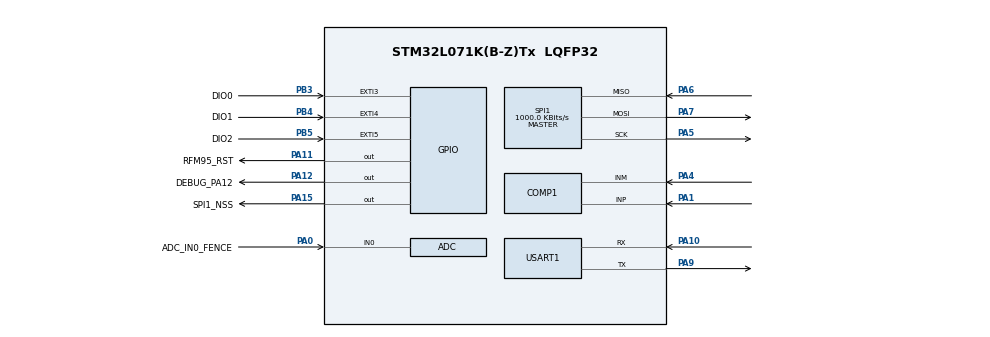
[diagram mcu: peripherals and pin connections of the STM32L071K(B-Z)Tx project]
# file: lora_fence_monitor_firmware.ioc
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ADC.ContinuousConvMode=ENABLE
ADC.DMAContinuousRequests=ENABLE
COMP1.TriggerMode=COMP_TRIGGERMODE_IT_RISING
Dma.ADC.0.Direction=DMA_PERIPH_TO_MEMORY
Dma.ADC.0.Instance=DMA1_Channel1
Dma.ADC.0.MemDataAlignment=DMA_MDATAALIGN_HALFWORD
Dma.ADC.0.MemInc=DMA_MINC_ENABLE
Dma.ADC.0.Mode=DMA_NORMAL
Dma.ADC.0.PeriphDataAlignment=DMA_PDATAALIGN_HALFWORD
Dma.ADC.0.PeriphInc=DMA_PINC_DISABLE
Dma.ADC.0.Priority=DMA_PRIORITY_LOW
Dma.Request0=ADC
LPTIM1.ClockPrescaler=LPTIM_PRESCALER_DIV16
Mcu.Family=STM32L0
Mcu.Name=STM32L071K(B-Z)Tx
Mcu.Package=LQFP32
NVIC.ADC1_COMP_IRQn=true\:0\:0\:false\:false\:true\:true\:true
NVIC.DMA1_Channel1_IRQn=true\:0\:0\:false\:false\:true\:false\:true
NVIC.EXTI2_3_IRQn=true\:0\:0\:false\:false\:true\:true\:true
NVIC.EXTI4_15_IRQn=true\:0\:0\:false\:false\:true\:true\:true
NVIC.LPTIM1_IRQn=true\:0\:0\:false\:false\:true\:true\:true
NVIC.RTC_IRQn=true\:0\:0\:false\:false\:true\:true\:true
NVIC.SPI1_IRQn=true\:0\:0\:false\:false\:true\:true\:true
NVIC.USART1_IRQn=true\:0\:0\:false\:false\:true\:true\:true
PA0.GPIO_Label=ADC_IN0_FENCE
PA0.Mode=IN0
PA0.Signal=ADC_IN0
PA1.Mode=INP
PA1.Signal=COMP1_INP
PA10.Mode=Asynchronous
PA10.Signal=USART1_RX
PA11.GPIO_Label=RFM95_RST
PA11.GPIO_ModeDefaultOutputPP=GPIO_MODE_OUTPUT_PP
PA11.Signal=GPIO_Output
PA12.GPIO_Label=DEBUG_PA12
PA12.GPIO_Speed=GPIO_SPEED_FREQ_HIGH
PA12.Signal=GPIO_Output
PA13.Mode=Serial_Wire
PA13.Signal=SYS_SWDIO
PA14.Mode=Serial_Wire
PA14.Signal=SYS_SWCLK
PA15.GPIO_Label=SPI1_NSS
PA15.Signal=GPIO_Output
PA4.Mode=INM
PA4.Signal=COMP1_INM
PA5.Mode=Full_Duplex_Master
PA5.Signal=SPI1_SCK
PA6.Mode=Full_Duplex_Master
PA6.Signal=SPI1_MISO
PA7.Mode=Full_Duplex_Master
PA7.Signal=SPI1_MOSI
PA9.Mode=Asynchronous
PA9.Signal=USART1_TX
PB3.GPIO_Label=DIO0
PB3.Signal=GPXTI3
PB4.GPIO_Label=DIO1
PB4.Signal=GPXTI4
PB5.GPIO_Label=DIO2
PB5.Signal=GPXTI5
ProjectManager.HeapSize=0x200
ProjectManager.StackSize=0x400
ProjectManager.TargetToolchain=Makefile
RCC.AHBFreq_Value=16000000
RCC.APB1Freq_Value=16000000
RCC.APB1TimFreq_Value=16000000
RCC.APB2Freq_Value=16000000
RCC.APB2TimFreq_Value=16000000
RCC.HCLKFreq_Value=16000000
RCC.HSI16_VALUE=16000000
RCC.HSI_VALUE=16000000
RCC.LSE_VALUE=32768
RCC.LptimClockSelection=RCC_LPTIM1CLKSOURCE_HSI
RCC.MSI_VALUE=2097000
RCC.PWR_Regulator_Voltage_Scale=PWR_REGULATOR_VOLTAGE_SCALE2
RCC.SYSCLKFreq_VALUE=16000000
RCC.SYSCLKSource=RCC_SYSCLKSOURCE_HSI
RCC.VCOOutputFreq_Value=48000000
RCC.VDD_VALUE=3
SPI1.BaudRatePrescaler=SPI_BAUDRATEPRESCALER_16
SPI1.CalculateBaudRate=1000.0 KBits/s
SPI1.Direction=SPI_DIRECTION_2LINES
SPI1.Mode=SPI_MODE_MASTER
SPI1.VirtualType=VM_MASTER
SYS.PVDLevel=PWR_PVDLEVEL_2
USART1.VirtualMode-Asynchronous=VM_ASYNC
VP_LPTIM1_VS_LPTIM_counterModeInternalClock.Mode=Counts__internal_clock_event_00
VP_RTC_VS_RTC_Activate.Mode=RTC_Enabled
VP_RTC_VS_RTC_WakeUp_intern.Mode=WakeUp
VP_SYS_V_PVD_IN.Mode=Mode_PVD_Int
board=custom

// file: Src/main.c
/* USER CODE BEGIN Header */
/**
  ******************************************************************************
  * @file           : main.c
  * @brief          : Main program body
  ******************************************************************************
  * @attention
  *
  * <h2><center>&copy; Copyright (c) 2020 STMicroelectronics.
  * All rights reserved.</center></h2>
  *
  * This software component is licensed by ST under BSD 3-Clause license,
  * the "License"; You may not use this file except in compliance with the
  * License. You may obtain a copy of the License at:
  *                        opensource.org/licenses/BSD-3-Clause
  *
  ******************************************************************************
  */
/* USER CODE END Header */

#include "main.h"
#include "adc.h"
#include "comp.h"
#include "dma.h"
#include "lptim.h"
#include "rtc.h"
#include "spi.h"
#include "usart.h"
#include "gpio.h"

/* USER CODE BEGIN Includes */
#include "arduino_lmic.h"
#include "hal/hal.h"
#include "fence.h"
#include "eeprom.h"

#include "string.h"
#include "stdio.h"
/* USER CODE END Includes */

/* USER CODE BEGIN PD */

// +++++++++++++++++++++++++++++++++++++++++++++++++++++++++++++++++++++++++++++
/*  TODO
 *  Calibration routine for voltage and RTC
 *  Timeouts and error handlers
 *  Error handler/retry if voltage low and long (>300us) -> spurious signal form other nearby fence?
 *  EEPROM checksums
 */
/* important!! changes after code generation in cubemx
 * gpio.c:53 comment out
 *  // if called resets radio -> standby mode -> 1.6mA -> not good
 *  // LL_GPIO_ResetOutputPin(RFM95_RST_GPIO_Port, RFM95_RST_Pin);
 *
 * main.c comment out
 *  // LL_RCC_ForceBackupDomainReset();
 *  // LL_RCC_ReleaseBackupDomainReset();
 *
 */
// +++++++++++++++++++++++++++++++++++++++++++++++++++++++++++++++++++++++++++++

/*  Lora message structure, 1 byte long
 *  Byte 0:
 *      bit 7:      Timeout
 *      bit 6-0:    Fencevoltage / 0.1kV  (e.g. 11.4kV = 114 in message, max 12.7kV)
 */
#define LORA_MESSAGE_NUM_BYTES      1

#define LORA_MESSAGE_BATTERYLOW_BYTE   (0)
#define LORA_MESSAGE_BATTERYLOW_MASK   (1<<7)
#define LORA_MESSAGE_VOLTAGE_BYTE   (0)
#define LORA_MESSAGE_VOLTAGE_MASK   (0x7F)

#define PRINTBUF_SIZE   (40)

/* USER CODE END PD */

/* USER CODE BEGIN PV */
static volatile uint32_t tick = 0;
/* USER CODE END PV */

void SystemClock_Config(void);
/* USER CODE BEGIN PFP */
void EnterStandbyMode(void);
void EnterSTOPMode(void);
/* USER CODE END PFP */

/* USER CODE BEGIN 0 */

// This EUI must be in little-endian format, so least-significant-byte
// first. When copying an EUI from ttnctl output, this means to reverse
// the bytes. For TTN issued EUIs the last bytes should be 0xD5, 0xB3,
// 0x70.
static const u1_t APPEUI[8]={ 0x1D, 0x98, 0xXX, 0xXX, 0xXX, 0xXX, 0xXX, 0xXX };
void os_getArtEui (u1_t* buf) { memcpy(buf, APPEUI, 8);}

// This should also be in little endian format, see above.
static const u1_t DEVEUI[8]={ 0xE6, 0xEB, 0xXX, 0xXX, 0xXX, 0xXX, 0xXX, 0xXX };
void os_getDevEui (u1_t* buf) { memcpy(buf, DEVEUI, 8);}

// This key should be in big endian format (or, since it is not really a
// number but a block of memory, endianness does not really apply). In
// practice, a key taken from ttnctl can be copied as-is.
static const u1_t APPKEY[16] = { 0xF8, 0x02, 0xXX, 0xXX, 0xXX, 0xXX, 0xXX, 0xXX, 0xXX, 0xXX, 0xXX, 0xXX, 0xXX, 0xXX, 0xXX, 0xXX };
void os_getDevKey (u1_t* buf) {  memcpy(buf, APPKEY, 16);}

static char printbuf[PRINTBUF_SIZE];

static uint8_t loradata[LORA_MESSAGE_NUM_BYTES] = {0};
static uint8_t lora_port = 2;
static uint8_t lora_confirmed = 0;
static osjob_t sendjob;

static uint16_t retry_interval = 10;         // check for no pending jobs next secs to go to sleep
static volatile uint8_t txcomplete = 0;     // set, when tx done and ready for next sleep

// Pin mapping, unused in this implementation
const lmic_pinmap lmic_pins = {
    .nss = 6,
    .rxtx = LMIC_UNUSED_PIN,
    .rst = 5,
    .dio = {2, 3, 4},
};

void do_send(osjob_t* j)
{
    lmic_tx_error_t error = 0;

    // Check if there is not a current TX/RX job running
    if (LMIC.opmode & OP_TXRXPEND) {
        MYPRINT("OP_TXRXPEND, not sending\r\n");
    } else {
        MYPRINT("Packet queued\r\n");
        // Prepare upstream data transmission at the next possible time.
        error = LMIC_setTxData2(lora_port, loradata, LORA_MESSAGE_NUM_BYTES, lora_confirmed);
    }

    switch (error)
    {
    case LMIC_ERROR_TX_BUSY:
        MYPRINT("LMIC_ERROR_TX_BUSY\r\n");
        break;
    case LMIC_ERROR_TX_TOO_LARGE:
        MYPRINT("LMIC_ERROR_TX_TOO_LARGE\r\n");
        break;
    case LMIC_ERROR_TX_NOT_FEASIBLE:
        MYPRINT("LMIC_ERROR_TX_NOT_FEASIBLE\r\n");
        break;
    case LMIC_ERROR_TX_FAILED:
        MYPRINT("LMIC_ERROR_TX_FAILED\r\n");
        break;
    default:
        break;
    }
}

void onEvent (ev_t ev) {
    switch(ev) {
        case EV_SCAN_TIMEOUT:
            MYPRINT("EV_SCAN_TIMEOUT\r\n");
            break;
        case EV_BEACON_FOUND:
            MYPRINT("EV_BEACON_FOUND\r\n");
            break;
        case EV_BEACON_MISSED:
            MYPRINT("EV_BEACON_MISSED\r\n");
            break;
        case EV_BEACON_TRACKED:
            MYPRINT("EV_BEACON_TRACKED\r\n");
            break;
        case EV_JOINING:
            // normally starts at DR_SF7 and increases if not heard
            // /* set SF10 to get reliable join, potentially decreased over time by ADR */
            // LMIC_setDrTxpow(DR_SF10,14);
            MYPRINT("EV_JOINING\r\n");
            break;
        case EV_JOINED:
            MYPRINT("EV_JOINED\r\n");
            /* enable ADR */
            LMIC_setAdrMode(1);
            // Disable link check validation (automatically enabled
            // during join, but not supported by TTN at this time).
            LMIC_setLinkCheckMode(0);
            break;
        case EV_JOIN_FAILED:
            MYPRINT("EV_JOIN_FAILED\r\n");
            break;
        case EV_REJOIN_FAILED:
            MYPRINT("EV_REJOIN_FAILED\r\n");
            break;
        case EV_TXCOMPLETE:
            MYPRINT("EV_TXCOMPLETE\r\n");
            if (LMIC.txrxFlags & TXRX_ACK)
            {
              MYPRINT("Received ack\r\n");
            }

            if (LMIC.dataLen)
            {
              MYPRINT("Received data\r\n");

              fence_parse_rx(&(LMIC.frame[LMIC.dataBeg]), LMIC.dataLen);
            }
            txcomplete = 1;
            break;
        case EV_JOIN_TXCOMPLETE:
            // join accept not received
            MYPRINT("EV_JOIN_TXCOMPLETE\r\n");
            break;
        case EV_LOST_TSYNC:
            MYPRINT("EV_LOST_TSYNC\r\n");
            break;
        case EV_RESET:
            MYPRINT("EV_RESET\r\n");
            break;
        case EV_RXCOMPLETE:
            // data received in ping slot
            MYPRINT("EV_RXCOMPLETE\r\n");
            break;
        case EV_LINK_DEAD:
            MYPRINT("EV_LINK_DEAD\r\n");
            break;
        case EV_LINK_ALIVE:
            MYPRINT("EV_LINK_ALIVE\r\n");
            break;
        case EV_TXSTART:
            MYPRINT("EV_TXSTART\r\n");
            break;
        default:
            MYPRINT("Unknown event\r\n");
            break;
    }
}

/* USER CODE END 0 */

int main(void)
{
  /* USER CODE BEGIN 1 */
    uint8_t from_standby = 0;
    uint32_t fence_start_tick;
    uint8_t fence_timeout_triggered;    // set to non zero, if timed out
    uint8_t heartbeat_request = 0;
    uint8_t battery_low_flag;
    int32_t voltage = 0;
  /* USER CODE END 1 */

  /* MCU Configuration--------------------------------------------------------*/

  /* Reset of all peripherals, Initializes the Flash interface and the Systick. */

  LL_APB2_GRP1_EnableClock(LL_APB2_GRP1_PERIPH_SYSCFG);
  LL_APB1_GRP1_EnableClock(LL_APB1_GRP1_PERIPH_PWR);

  /* System interrupt init*/

  /** PVD Configuration
  */
  LL_PWR_SetPVDLevel(LL_PWR_PVDLEVEL_2);
  /** Enable the PVD Output
  */
  LL_PWR_EnablePVD();

  /* Configure the system clock */
  SystemClock_Config();

  /* USER CODE BEGIN SysInit */
  SysTick_Config(16000);    // 16e3 ticks for 1ms

  /* USER CODE END SysInit */

  /* Initialize all configured peripherals */
  MX_GPIO_Init();
  MX_DMA_Init();
  MX_ADC_Init();
  MX_COMP1_Init();
  MX_SPI1_Init();
  MX_LPTIM1_Init();
  /* USER CODE BEGIN 2 */

#ifdef APP_DEBUG
    MX_USART1_UART_Init();
#endif // APP_DEBUG

    MX_RTC_Init();

    if (LL_PWR_IsActiveFlag_SB() != 1)
    {
        /* ##### Run after normal reset ##### */
        from_standby = 0;

        MYPRINT("\r\n---\r\nRun after reset\r\n");

        if (!DEBUG_GET_LMIC_FROM_EEPROM)
        {
            MYPRINT("Clear EEPROM and RTC register\r\n");
            eeprom_clear();

            LL_PWR_EnableBkUpAccess();
            LL_RCC_ForceBackupDomainReset();
            LL_RCC_ReleaseBackupDomainReset();

            MYPRINT("Set default fence params\r\n");
            struct fence_s fence_default = {
                .check_interval = 5*60,            // default 5 min
                .heartbeat_counter = 24,           // (24) for every 2h at 5min check interval
                .fence_timeout = 4500,             // timeout value for two fence impulses in ms
                .voltage_threshold = 2500          // 2.5kV minimum
            };
            fence_set_persistence(fence_default);
        }
        else
        {
            eeprom_restore_fence();
        }
    }
    else
    {
        /* ##### Run after standby mode ##### */
        from_standby = 1;

        MYPRINT("\r\n---\r\nRun after standby\r\n");

        /* Clear Standby flag*/
        LL_PWR_ClearFlag_SB();
        /* Clear wakeup flag*/
        LL_PWR_ClearFlag_WU();
        /* Reset RTC Internal Wake up flag */
        LL_RTC_ClearFlag_WUT(RTC);

        eeprom_restore_fence();
    }

    // get parameters after restoring from flash
    struct fence_s fence_vars = fence_get_persistence();

    /* Configure RTC to use WUT = check_interval */
    Configure_RTC(fence_vars.check_interval);
    MYPRINT("Config RTC, ");

    // start comp+adc for measurement
    MYPRINT("Starting measurement\r\n");
    fence_start();

    fence_start_tick = getTick();
    fence_timeout_triggered = 0;
    while (!fence_done())
    {
        // wait here
        if ((getTick() - fence_start_tick) > fence_vars.fence_timeout)
        {
            fence_timeout_triggered = 1;

            MYPRINT("Timeout\r\n");
            break;
        }

        // sleep between ticks, wakeup from systick (after 1ms)
        __WFI();
    }

    adc_calibrate();  // gets actual vdda voltage

    adc_disable();  // save power

    // call fence_get() to determine if report needed (fence_need_report()) and calc fence voltage
    voltage = fence_get();
    snprintf(printbuf, PRINTBUF_SIZE, "Voltage:%ld\r\n", voltage);
    MYPRINT(printbuf);

    // get heartbeat counter and schedule transmission
    // also clears rtc_alarm_reported_flag, so a pending error gets reported
    // again after heartbeat_counter * wakeup time
    if ( (heartbeat_request = rtc_heartbeat_get(fence_vars.heartbeat_counter)) != 0 )
    {
        MYPRINT("Heartbeat scheduled\r\n");
    }

    // get battery status
    // threshold has to be set high enough for node to be able to
    // still send out during normal operation
    battery_low_flag = (LL_PWR_IsActiveFlag_PVDO()) ? 1 : 0;
    if (battery_low_flag)
    {
        MYPRINT("Battery low\r\n");
    }

    // ### only go on with LMIC if fence measurement has to be sent out ####
    if ( (fence_need_report() ||
         fence_timeout_triggered ||
         heartbeat_request ||
         !from_standby) &&                  // at first startup always send, triggers join
         !rtc_alarm_reported_flag_get() )   // dont send if already reported
    {
        // build lorawan message

        voltage = (voltage == -1) ? 0 : voltage / 100;      // on error report 0
        voltage = (voltage > 127) ? 127 : voltage;          // clip at 12.7kV
        loradata[LORA_MESSAGE_VOLTAGE_BYTE] |= ((uint32_t)voltage) & LORA_MESSAGE_VOLTAGE_MASK;

        if (battery_low_flag)
        {
            loradata[LORA_MESSAGE_BATTERYLOW_BYTE] |= LORA_MESSAGE_BATTERYLOW_MASK;
        }

        if (!heartbeat_request)
        {
            rtc_alarm_reported_flag_set();
        }

        MYPRINT("Need report\r\n");
    }
    else
    {
        if (rtc_alarm_reported_flag_get())
        {
            MYPRINT("Pending alarm already reported\r\n");
        }

        MYPRINT("No report, standby\r\n");

        // manually reset radio and put to sleep
        hal_pin_rst(0); // drive RST pin low
        hal_waitUntil(os_getTime()+ms2osticks(1)); // wait >100us
        hal_pin_rst(2); // configure RST pin floating!
        hal_waitUntil(os_getTime()+ms2osticks(5)); // wait 5ms
        os_radio(RADIO_RST);

        /* Enable wake-up timer and enter in standby mode */
        EnterStandbyMode();

        // never reaches here
    }

    MYPRINT("Start LMIC\r\n");

    // LMIC init
    os_init();
    // Reset the MAC state. Session and pending data transfers will be discarded.
    LMIC_reset();
    // settings
    LMIC_setClockError(MAX_CLOCK_ERROR * 10 / 1000);

    /* Check and handle if the system was resumed from StandBy mode,
       also restore data from eeprom if requested for debugging       */
    if(from_standby || DEBUG_GET_LMIC_FROM_EEPROM)
    {
        MYPRINT("Restore session from EEPROM\r\n");

        // get session + tick from eeprom, if valid
        eeprom_restore_lmic();
    }

    txcomplete = 0;
    do_send(&sendjob);

  /* USER CODE END 2 */

  /* Infinite loop */
  while (1)
  {

    /* USER CODE BEGIN 3 */
    os_runloop_once();

    /* when no jobs pending and not joining, go to standby */
    if (!os_queryTimeCriticalJobs(sec2osticks(retry_interval)) &&
        !(LMIC.opmode & OP_JOINING) )
    {
        if (txcomplete)
        {
            MYPRINT("Save session\r\n");

            // save session and ticks+sleeptime
            eeprom_save(getTick() + 1000 * fence_vars.check_interval);

            MYPRINT("Standby\r\n");

            /* Enable wake-up timer and enter in standby mode */
            EnterStandbyMode();
        }
        else
        {
            // TODO: timeout with txcomplete check
        }
    }

    // sleep between ticks, wakeup from systick (after 1ms)
    __WFI();
  }
  /* USER CODE END 3 */
}

void SystemClock_Config(void)
{
  LL_FLASH_SetLatency(LL_FLASH_LATENCY_1);

  if(LL_FLASH_GetLatency() != LL_FLASH_LATENCY_1)
  {
  Error_Handler();
  }
  LL_PWR_SetRegulVoltageScaling(LL_PWR_REGU_VOLTAGE_SCALE2);
  LL_RCC_HSI_Enable();

   /* Wait till HSI is ready */
  while(LL_RCC_HSI_IsReady() != 1)
  {

  }
  LL_RCC_HSI_SetCalibTrimming(16);
  LL_RCC_LSI_Enable();

   /* Wait till LSI is ready */
  while(LL_RCC_LSI_IsReady() != 1)
  {

  }
  LL_PWR_EnableBkUpAccess();
//   LL_RCC_ForceBackupDomainReset();
//   LL_RCC_ReleaseBackupDomainReset();
  LL_RCC_SetRTCClockSource(LL_RCC_RTC_CLKSOURCE_LSI);
  LL_RCC_EnableRTC();
  LL_RCC_SetAHBPrescaler(LL_RCC_SYSCLK_DIV_1);
  LL_RCC_SetAPB1Prescaler(LL_RCC_APB1_DIV_1);
  LL_RCC_SetAPB2Prescaler(LL_RCC_APB2_DIV_1);
  LL_RCC_SetSysClkSource(LL_RCC_SYS_CLKSOURCE_HSI);

   /* Wait till System clock is ready */
  while(LL_RCC_GetSysClkSource() != LL_RCC_SYS_CLKSOURCE_STATUS_HSI)
  {

  }

  LL_Init1msTick(16000000);

  LL_SetSystemCoreClock(16000000);
  LL_RCC_SetUSARTClockSource(LL_RCC_USART1_CLKSOURCE_PCLK2);
  LL_RCC_SetLPTIMClockSource(LL_RCC_LPTIM1_CLKSOURCE_HSI);
}

/* USER CODE BEGIN 4 */

/**
  * @brief  Function to configure and enter in STANDBY Mode.
  * @param  None
  * @retval None
  */
void EnterStandbyMode(void)
{
  /* ######## ENABLE WUT #################################################*/
  /* Disable RTC registers write protection */
  LL_RTC_DisableWriteProtection(RTC);

  /* Enable wake up counter and wake up interrupt */
  /* Note: Periodic wakeup interrupt should be enabled to exit the device
     from low-power modes.*/
  LL_RTC_EnableIT_WUT(RTC);
  LL_RTC_WAKEUP_Enable(RTC);

  /* Enable RTC registers write protection */
  LL_RTC_EnableWriteProtection(RTC);

  /* ######## ENTER IN STANDBY MODE ######################################*/
  /** Request to enter STANDBY mode
    * Following procedure describe in STM32L0xx Reference Manual
    * See PWR part, section Low-power modes, Standby mode
    */
  /* Reset Internal Wake up flag */
  LL_RTC_ClearFlag_WUT(RTC);

  /* Set Stand-by mode */
  LL_PWR_SetPowerMode(LL_PWR_MODE_STANDBY);

  /* Set SLEEPDEEP bit of Cortex System Control Register */
  LL_LPM_EnableDeepSleep();

  /* This option is used to ensure that store operations are completed */
#if defined ( __CC_ARM)
  __force_stores();
#endif

  /* Request Wait For Interrupt */
  __WFI();
}

void incTick(void)
{
    tick++;
}

void setTick(uint32_t new_tick)
{
    tick = new_tick;
}

uint32_t getTick(void)
{
    return tick;
}

/**
  * @brief  Function called to read the current micro second
  * @param  None
  * @retval None
  */
uint32_t getCurrentMicro(void)
{
  /* Ensure COUNTFLAG is reset by reading SysTick control and status register */
  LL_SYSTICK_IsActiveCounterFlag();
  uint32_t m = getTick();
  uint32_t u = SysTick->LOAD - SysTick->VAL;
  if(LL_SYSTICK_IsActiveCounterFlag()) {
    m = getTick();
    u = SysTick->LOAD - SysTick->VAL;
  }
  return ( m * 1000 + (u * 1000) / SysTick->LOAD);
}

/* USER CODE END 4 */

void Error_Handler(void)
{
  /* USER CODE BEGIN Error_Handler_Debug */
  /* User can add his own implementation to report the HAL error return state */

#ifndef APP_DEBUG
    NVIC_SystemReset();
#else
    // reporting function
    MYPRINT("ERROR, would reset now\r\n");
#endif // APP_DEBUG

  /* USER CODE END Error_Handler_Debug */
}

/************************ (C) COPYRIGHT STMicroelectronics *****END OF FILE****/
